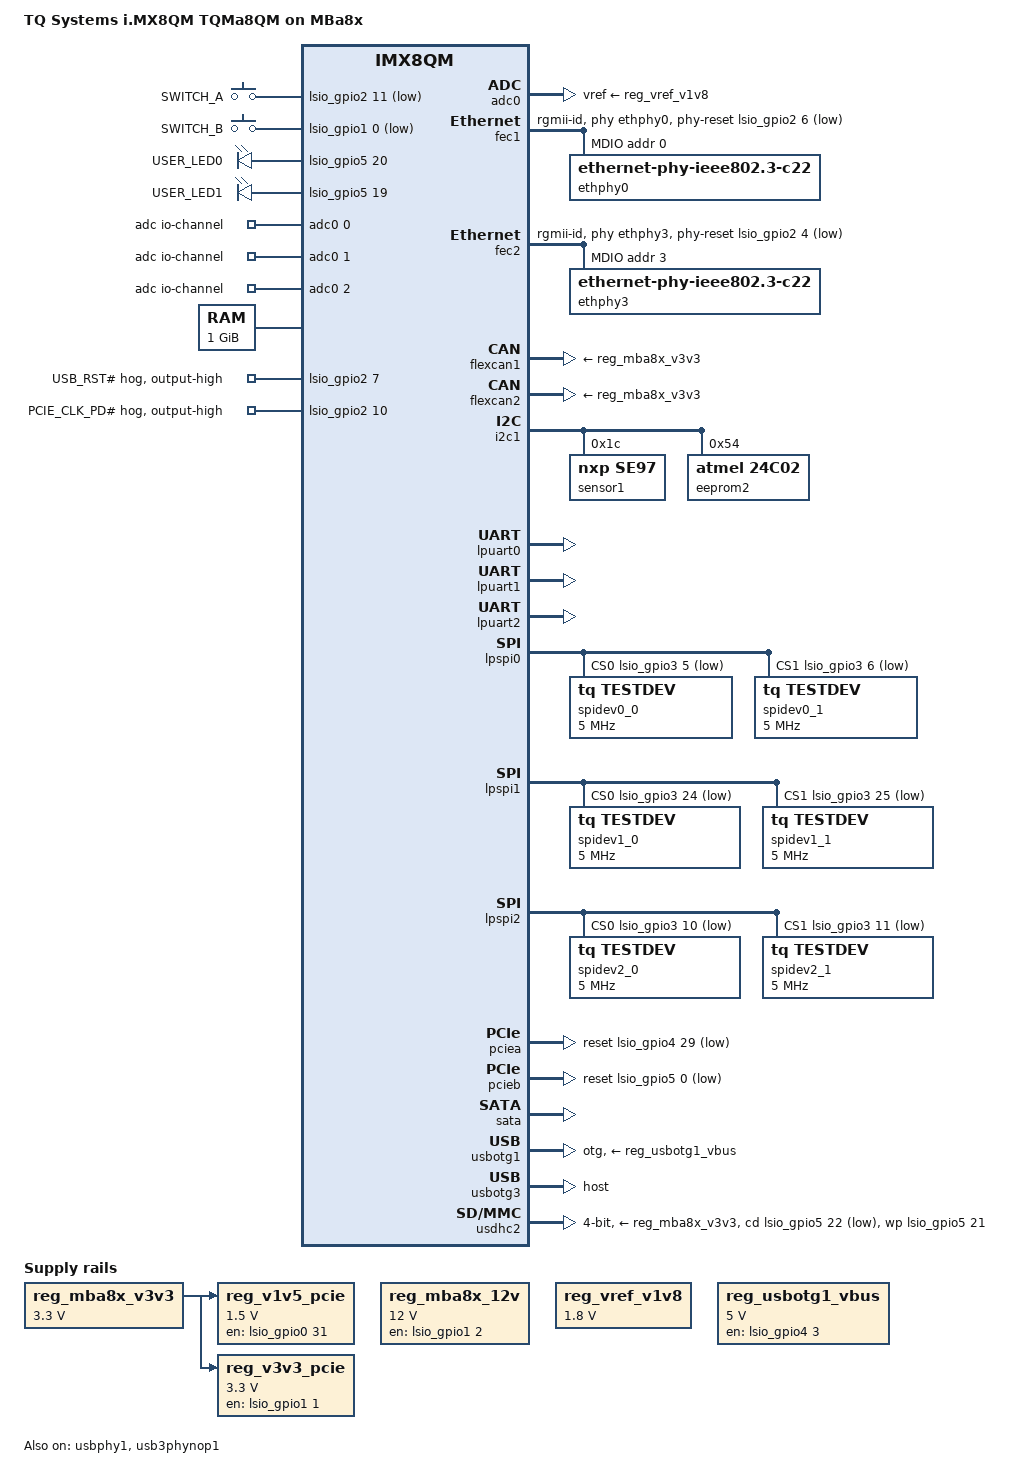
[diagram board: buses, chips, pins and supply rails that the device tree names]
// SPDX-License-Identifier: (GPL-2.0-or-later OR MIT)
/*
 * Copyright 2019-2021 TQ-Systems GmbH
 */

#include <dt-bindings/net/ti-dp83867.h>

/ {
	model = "TQ Systems i.MX8QM TQMa8QM on MBa8x";
	compatible = "tq,imx8qm-mba8x", "tq,imx8qm-tqma8qm", "fsl,imx8qm";

	aliases {
		rtc1 = &rtc;
		rtc0 = &pcf85063;
	};

	chosen {
		bootargs = "console=ttyLP0,115200 earlycon";
		stdout-path = &lpuart0;
	};

	gpio-keys {
		compatible = "gpio-keys";
		pinctrl-names = "default";
		pinctrl-0 = <&pinctrl_gpiokeys>;
		autorepeat;

		switch1 {
			label = "SWITCH_A";
			linux,code = <BTN_0>;
			gpios = <&lsio_gpio2 11 GPIO_ACTIVE_LOW>;
			wakeup-source;
		};

		switch2 {
			label = "SWITCH_B";
			linux,code = <BTN_1>;
			gpios = <&lsio_gpio1 0 GPIO_ACTIVE_LOW>;
			wakeup-source;
		};
	};

	gpio-leds {
		compatible = "gpio-leds";
		pinctrl-names = "default";
		pinctrl-0 = <&pinctrl_gpioled>;

		user-led0 {
			label = "USER_LED0";
			gpios = <&lsio_gpio5 20 GPIO_ACTIVE_HIGH>;
			linux,default-trigger = "heartbeat";
		};

		user-led1 {
			label = "USER_LED1";
			gpios = <&lsio_gpio5 19 GPIO_ACTIVE_HIGH>;
			default-state = "on";
		};
	};

	adc {
		compatible = "iio-hwmon";
		io-channels = <&adc0 0>, <&adc0 1>, <&adc0 2>;
	};

	memory@80000000 {
		device_type = "memory";
		reg = <0x00000000 0x80000000 0 0x40000000>;
	};

	reg_mba8x_v3v3: mba8x_v3v3 {
		compatible = "regulator-fixed";
		regulator-name = "MBa8x-V3V3";
		regulator-min-microvolt = <3300000>;
		regulator-max-microvolt = <3300000>;
		regulator-always-on;
	};

	reg_mba8x_12v: mba8x_12v {
		pinctrl-names = "default";
		pinctrl-0 = <&pinctrl_reg_mba8x_12v>;
		compatible = "regulator-fixed";
		regulator-name = "MBa8x-V12";
		regulator-min-microvolt = <12000000>;
		regulator-max-microvolt = <12000000>;
		enable-active-high;
		gpio = <&lsio_gpio1 2 GPIO_ACTIVE_HIGH>;
	};

	reg_v1v5_pcie: v1v5_pcie {
		pinctrl-names = "default";
		pinctrl-0 = <&pinctrl_reg_pcie_v1v5>;
		compatible = "regulator-fixed";
		regulator-name = "V1V5_PCIE";
		regulator-min-microvolt = <1500000>;
		regulator-max-microvolt = <1500000>;
		vin-supply = <&reg_mba8x_v3v3>;
		enable-active-high;
		gpio = <&lsio_gpio0 31 GPIO_ACTIVE_HIGH>;
		regulator-always-on;
	};

	reg_vref_v1v8: regulator-v1v8 {
		compatible = "regulator-fixed";
		regulator-name = "VREF_V1V8";
		regulator-min-microvolt = <1800000>;
		regulator-max-microvolt = <1800000>;
		regulator-always-on;
	};

	reg_v3v3_pcie: v3v3_pcie {
		pinctrl-names = "default";
		pinctrl-0 = <&pinctrl_reg_pcie_v3v3>;
		compatible = "regulator-fixed";
		regulator-name = "V3V3_PCIE";
		regulator-min-microvolt = <3300000>;
		regulator-max-microvolt = <3300000>;
		vin-supply = <&reg_mba8x_v3v3>;
		enable-active-high;
		gpio = <&lsio_gpio1 1 GPIO_ACTIVE_HIGH>;
		regulator-always-on;
	};

	reg_usbotg1_vbus: regulator-usbotg1-vbus {
		compatible = "regulator-fixed";
		regulator-name = "USBOTG1_VBUS";
		pinctrl-names = "default";
		pinctrl-0 = <&pinctrl_reg_usbotg1_vbus>;
		regulator-min-microvolt = <5000000>;
		regulator-max-microvolt = <5000000>;
		gpio = <&lsio_gpio4 3 GPIO_ACTIVE_HIGH>;
		enable-active-high;
	};

	reserved-memory {
		#address-cells = <2>;
		#size-cells = <2>;
		ranges;

		dsp_reserved: dsp@0x92400000 {
			no-map;
			reg = <0 0x92400000 0 0x2000000>;
		};

		/* global autoconfigured region for contiguous allocations */
		linux,cma {
			compatible = "shared-dma-pool";
			reusable;
			size = <0 0x3c000000>;
			alloc-ranges = <0 0x96000000 0 0x3c000000>;
			linux,cma-default;
		};
	};
};

&adc0 {
	pinctrl-names = "default";
	pinctrl-0 = <&pinctrl_adc0>;
	vref-supply = <&reg_vref_v1v8>;
	status = "okay";
	#io-channel-cells = <1>;
};

&fec1 {
	pinctrl-names = "default";
	pinctrl-0 = <&pinctrl_fec1>;
	phy-mode = "rgmii-id";
	phy-handle = <&ethphy0>;
	phy-reset-gpios = <&lsio_gpio2 6 GPIO_ACTIVE_LOW>;
	phy-reset-duration = <500>;
	phy-reset-post-delay = <50>;
	fsl,magic-packet;
	/* NXP starterkits share the mdio bus, we not */
	fsl,mii-exclusive;
	mac-address = [ 00 00 00 00 00 00 ];
	status = "okay";

	mdio {
		#address-cells = <1>;
		#size-cells = <0>;

		ethphy0: ethernet-phy@0 {
			compatible = "ethernet-phy-ieee802.3-c22";
			reg = <0>;
			ti,rx-internal-delay = <DP83867_RGMIIDCTL_2_25_NS>;
			ti,tx-internal-delay = <DP83867_RGMIIDCTL_2_25_NS>;
			ti,fifo-depth = <DP83867_PHYCR_FIFO_DEPTH_4_B_NIB>;
			ti,dp83867-rxctrl-strap-quirk;
			ti,clk-output-sel = <DP83867_CLK_O_SEL_OFF>;
			enet-phy-lane-no-swap;
			/* LED0: Link, LED2: activity */
			ti,led-function = <0x0100>;
			/* LED0/2: active High, driven by phy function */
			ti,led-ctrl = <0x1414>;
		};
	};
};

&fec2 {
	pinctrl-names = "default";
	pinctrl-0 = <&pinctrl_fec2>;
	phy-mode = "rgmii-id";
	phy-handle = <&ethphy3>;
	phy-reset-gpios = <&lsio_gpio2 4 GPIO_ACTIVE_LOW>;
	phy-reset-duration = <500>;
	phy-reset-post-delay = <50>;
	/* NXP starterkits share the mdio bus, we not */
	fsl,mii-exclusive;
	fsl,magic-packet;
	mac-address = [ 00 00 00 00 00 00 ];
	status = "okay";

	mdio {
		#address-cells = <1>;
		#size-cells = <0>;

		ethphy3: ethernet-phy@3 {
			compatible = "ethernet-phy-ieee802.3-c22";
			reg = <3>;
			ti,rx-internal-delay = <DP83867_RGMIIDCTL_2_25_NS>;
			ti,tx-internal-delay = <DP83867_RGMIIDCTL_2_25_NS>;
			ti,fifo-depth = <DP83867_PHYCR_FIFO_DEPTH_4_B_NIB>;
			ti,dp83867-rxctrl-strap-quirk;
			ti,clk-output-sel = <DP83867_CLK_O_SEL_OFF>;
			enet-phy-lane-no-swap;
			/* LED0: Link, LED2: activity */
			ti,led-function = <0x0100>;
			/* LED0/2: active High, driven by phy function */
			ti,led-ctrl = <0x1414>;
		};
	};
};

&flexcan1 {
	pinctrl-names = "default";
	pinctrl-0 = <&pinctrl_flexcan1>;
	xceiver-supply = <&reg_mba8x_v3v3>;
	status = "okay";
};

&flexcan2 {
	pinctrl-names = "default";
	pinctrl-0 = <&pinctrl_flexcan2>;
	xceiver-supply = <&reg_mba8x_v3v3>;
	status = "okay";
};

&iomuxc {
	pinctrl-names = "default";
	pinctrl-0 = <&pinctrl_gpio &pinctrl_hog>;

	pinctrl_adc0: adc0grp {
		fsl,pins = <
			IMX8QM_ADC_IN1_DMA_ADC0_IN1        0x02000060
			IMX8QM_ADC_IN2_DMA_ADC0_IN2        0x02000060
		>;
	};

	pinctrl_fec1: fec1grp {
		fsl,pins = <
			IMX8QM_COMP_CTL_GPIO_1V8_3V3_ENET_ENETB_PAD		0x000014a0

			IMX8QM_ENET0_MDC_CONN_ENET0_MDC				0x06000041
			IMX8QM_ENET0_MDIO_CONN_ENET0_MDIO			0x06000041
			IMX8QM_ENET0_RGMII_TX_CTL_CONN_ENET0_RGMII_TX_CTL	0x00000040
			IMX8QM_ENET0_RGMII_TXC_CONN_ENET0_RGMII_TXC		0x00000040
			IMX8QM_ENET0_RGMII_TXD0_CONN_ENET0_RGMII_TXD0		0x00000040
			IMX8QM_ENET0_RGMII_TXD1_CONN_ENET0_RGMII_TXD1		0x00000040
			IMX8QM_ENET0_RGMII_TXD2_CONN_ENET0_RGMII_TXD2		0x00000040
			IMX8QM_ENET0_RGMII_TXD3_CONN_ENET0_RGMII_TXD3		0x00000040
			IMX8QM_ENET0_RGMII_RXC_CONN_ENET0_RGMII_RXC		0x00000040
			IMX8QM_ENET0_RGMII_RX_CTL_CONN_ENET0_RGMII_RX_CTL	0x00000040
			IMX8QM_ENET0_RGMII_RXD0_CONN_ENET0_RGMII_RXD0		0x00000040
			IMX8QM_ENET0_RGMII_RXD1_CONN_ENET0_RGMII_RXD1		0x00000040
			IMX8QM_ENET0_RGMII_RXD2_CONN_ENET0_RGMII_RXD2		0x00000040
			IMX8QM_ENET0_RGMII_RXD3_CONN_ENET0_RGMII_RXD3		0x00000040
			/* PHY Reset */
			IMX8QM_ESAI1_SCKR_LSIO_GPIO2_IO06			0x00000040
		>;
	};

	pinctrl_fec2: fec2grp {
		fsl,pins = <
			IMX8QM_COMP_CTL_GPIO_1V8_3V3_ENET_ENETA_PAD		0x000014a0

			IMX8QM_ENET1_MDC_CONN_ENET1_MDC				0x06000041
			IMX8QM_ENET1_MDIO_CONN_ENET1_MDIO			0x06000041
			IMX8QM_ENET1_RGMII_TX_CTL_CONN_ENET1_RGMII_TX_CTL	0x00000040
			IMX8QM_ENET1_RGMII_TXC_CONN_ENET1_RGMII_TXC		0x00000040
			IMX8QM_ENET1_RGMII_TXD0_CONN_ENET1_RGMII_TXD0		0x00000040
			IMX8QM_ENET1_RGMII_TXD1_CONN_ENET1_RGMII_TXD1		0x00000040
			IMX8QM_ENET1_RGMII_TXD2_CONN_ENET1_RGMII_TXD2		0x00000040
			IMX8QM_ENET1_RGMII_TXD3_CONN_ENET1_RGMII_TXD3		0x00000040
			IMX8QM_ENET1_RGMII_RXC_CONN_ENET1_RGMII_RXC		0x00000040
			IMX8QM_ENET1_RGMII_RX_CTL_CONN_ENET1_RGMII_RX_CTL	0x00000040
			IMX8QM_ENET1_RGMII_RXD0_CONN_ENET1_RGMII_RXD0		0x00000040
			IMX8QM_ENET1_RGMII_RXD1_CONN_ENET1_RGMII_RXD1		0x00000040
			IMX8QM_ENET1_RGMII_RXD2_CONN_ENET1_RGMII_RXD2		0x00000040
			IMX8QM_ENET1_RGMII_RXD3_CONN_ENET1_RGMII_RXD3		0x00000040
			/* PHY Reset */
			IMX8QM_ESAI1_FSR_LSIO_GPIO2_IO04			0x00000040
		>;
	};

	pinctrl_flexcan1: flexcan0grp {
		fsl,pins = <
			IMX8QM_FLEXCAN0_TX_DMA_FLEXCAN0_TX        0x21
			IMX8QM_FLEXCAN0_RX_DMA_FLEXCAN0_RX        0x21
		>;
	};

	pinctrl_flexcan2: flexcan1grp {
		fsl,pins = <
			IMX8QM_FLEXCAN1_TX_DMA_FLEXCAN1_TX        0x21
			IMX8QM_FLEXCAN1_RX_DMA_FLEXCAN1_RX        0x21
		>;
	};

	pinctrl_gpio: pingpiogrp {
		fsl,pins = <
			/* GPIO0_05 on X62:26 */
			IMX8QM_SIM0_GPIO0_00_LSIO_GPIO0_IO05	0x00000021
			/* GPIO1_14 on X64:21 */
			IMX8QM_LVDS1_I2C1_SCL_LSIO_GPIO1_IO14	0x00000021
			/* GPIO1_15 on X64:23 */
			IMX8QM_LVDS1_I2C1_SDA_LSIO_GPIO1_IO15	0x00000021
			/* GPIO2_17 on X63:37 */
			IMX8QM_SPI3_SCK_LSIO_GPIO2_IO17		0x00000021
			/* GPIO2_21 on X63:39 */
			IMX8QM_SPI3_CS1_LSIO_GPIO2_IO21		0x00000021
			/* GPIO4_12 on X61:24 */
			IMX8QM_USDHC2_CD_B_LSIO_GPIO4_IO12	0x00000021
			/* GPIO4_11 on X61:26 */
			IMX8QM_USDHC2_WP_LSIO_GPIO4_IO11	0x00000021
			/* GPIO4_10 on X61:28 */
			IMX8QM_USDHC2_VSELECT_LSIO_GPIO4_IO10	0x00000021
			/* GPIO4_09 on X61:30 */
			IMX8QM_USDHC2_RESET_B_LSIO_GPIO4_IO09	0x00000021
			/* GPIO5_23 on X62:24 */
			IMX8QM_USDHC1_STROBE_LSIO_GPIO5_IO23	0x00000021
			/* GPIO5_24 on X61:15 */
			IMX8QM_USDHC2_CLK_LSIO_GPIO5_IO24	0x00000021
			/* GPIO5_25 on X61:17 */
			IMX8QM_USDHC2_CMD_LSIO_GPIO5_IO25	0x00000021
			/* GPIO5_26 on X61:19 */
			IMX8QM_USDHC2_DATA0_LSIO_GPIO5_IO26	0x00000021
			/* GPIO5_27 on X61:21 */
			IMX8QM_USDHC2_DATA1_LSIO_GPIO5_IO27	0x00000021
			/* GPIO5_28 on X61:23 */
			IMX8QM_USDHC2_DATA2_LSIO_GPIO5_IO28	0x00000021
			/* GPIO5_29 on X61:25 */
			IMX8QM_USDHC2_DATA3_LSIO_GPIO5_IO29	0x00000021
		>;
	};

	pinctrl_gpiokeys: gpiokeys {
		fsl,pins = <
			IMX8QM_ESAI1_TX3_RX2_LSIO_GPIO2_IO11		0x00000021
			IMX8QM_SCU_GPIO0_04_LSIO_GPIO1_IO00		0x00000021
		>;
	};

	pinctrl_gpioled: gpioledgrp {
		fsl,pins = <
			IMX8QM_USDHC1_DATA4_LSIO_GPIO5_IO19		0x00000021
			IMX8QM_USDHC1_DATA5_LSIO_GPIO5_IO20		0x00000021
		>;
	};

	pinctrl_hog: hoggrp {
		fsl,pins = <
			IMX8QM_ESAI1_SCKT_LSIO_GPIO2_IO07		0x00000021
			IMX8QM_ESAI1_TX2_RX3_LSIO_GPIO2_IO10		0x00000021
		>;
	};

	pinctrl_lpspi0: lpspi0grp {
		fsl,pins = <
			IMX8QM_SPI0_SCK_DMA_SPI0_SCK	0x0600004d
			IMX8QM_SPI0_SDO_DMA_SPI0_SDO	0x0600004d
			IMX8QM_SPI0_SDI_DMA_SPI0_SDI	0x0600004d
		>;
	};

	pinctrl_lpspi0_cs: lpspi0cs {
		fsl,pins = <
			IMX8QM_SPI0_CS0_LSIO_GPIO3_IO05	0x00000021
			IMX8QM_SPI0_CS1_LSIO_GPIO3_IO06	0x00000021
		>;
	};

	pinctrl_lpspi1: lpspi1grp {
		fsl,pins = <
			IMX8QM_ADC_IN3_DMA_SPI1_SCK	0x0600004d
			IMX8QM_ADC_IN4_DMA_SPI1_SDO	0x0600004d
			IMX8QM_ADC_IN5_DMA_SPI1_SDI	0x0600004d
		>;
	};

	pinctrl_lpspi1_cs: lpspi1cs {
		fsl,pins = <
			IMX8QM_ADC_IN6_LSIO_GPIO3_IO24	0x00000021
			IMX8QM_ADC_IN7_LSIO_GPIO3_IO25	0x00000021
		>;
	};

	pinctrl_lpspi2: lpspi2grp {
		fsl,pins = <
			IMX8QM_SPI2_SCK_DMA_SPI2_SCK	0x0600004d
			IMX8QM_SPI2_SDO_DMA_SPI2_SDO	0x0600004d
			IMX8QM_SPI2_SDI_DMA_SPI2_SDI	0x0600004d
		>;
	};

	pinctrl_lpspi2_cs: lpspi02s {
		fsl,pins = <
			IMX8QM_SPI2_CS0_LSIO_GPIO3_IO10	0x00000021
			IMX8QM_SPI2_CS1_LSIO_GPIO3_IO11	0x00000021
		>;
	};

	pinctrl_lpuart0: lpuart0grp {
		fsl,pins = <
			IMX8QM_UART0_RX_DMA_UART0_RX		0x06000021
			IMX8QM_UART0_TX_DMA_UART0_TX		0x06000021
			IMX8QM_UART0_CTS_B_DMA_UART0_CTS_B	0x00000021
			IMX8QM_UART0_RTS_B_DMA_UART0_RTS_B	0x00000021
		>;
	};

	pinctrl_lpuart1: lpuart1grp {
		fsl,pins = <
			IMX8QM_UART1_RX_DMA_UART1_RX		0x06000021
			IMX8QM_UART1_TX_DMA_UART1_TX		0x06000021
			IMX8QM_UART1_CTS_B_DMA_UART1_CTS_B	0x00000021
			IMX8QM_UART1_RTS_B_DMA_UART1_RTS_B	0x00000021
		>;
	};

	pinctrl_lpuart2: lpuart2grp {
		fsl,pins = <
			IMX8QM_LVDS0_I2C1_SDA_DMA_UART2_RX	0x06000021
			IMX8QM_LVDS0_I2C1_SCL_DMA_UART2_TX	0x06000021
		>;
	};

	pinctrl_pciea: pcieagrp {
		fsl,pins = <
			 /* PCIE_DISABLE */
			IMX8QM_ESAI1_FST_LSIO_GPIO2_IO05			0x00000021
			IMX8QM_PCIE_CTRL0_PERST_B_LSIO_GPIO4_IO29		0x06000021
			IMX8QM_PCIE_CTRL0_CLKREQ_B_LSIO_GPIO4_IO27		0x06000021
			IMX8QM_PCIE_CTRL0_WAKE_B_LSIO_GPIO4_IO28		0x04000021
		>;
	};

	pinctrl_pcieb: pciebgrp {
		fsl,pins = <
			IMX8QM_PCIE_CTRL1_PERST_B_LSIO_GPIO5_IO00		0x06000021
			IMX8QM_PCIE_CTRL1_CLKREQ_B_LSIO_GPIO4_IO30		0x06000021
			IMX8QM_PCIE_CTRL1_WAKE_B_LSIO_GPIO4_IO31		0x04000021
		>;
	};

	pinctrl_reg_mba8x_12v: mba12vgrp {
		fsl,pins = <
			IMX8QM_SCU_GPIO0_06_LSIO_GPIO1_IO02	0x00000021
		>;
	};

	pinctrl_reg_pcie_v1v5: regpcie1v5grp {
		fsl,pins = <
			IMX8QM_SCU_GPIO0_03_LSIO_GPIO0_IO31	0x00000021
		>;
	};

	pinctrl_reg_pcie_v3v3: regpcie3v3grp {
		fsl,pins = <
			IMX8QM_SCU_GPIO0_05_LSIO_GPIO1_IO01	0x00000021
		>;
	};

	pinctrl_reg_usbotg1_vbus: regusbotg1vbusgrp {
		fsl,pins = <
			IMX8QM_USB_SS3_TC0_LSIO_GPIO4_IO03	0x00000021
		>;
	};

	pinctrl_usbotg1: usbotg1grp {
		fsl,pins = <
			IMX8QM_USB_SS3_TC2_CONN_USB_OTG1_OC	0x00000021
		>;
	};

	pinctrl_usdhc2_gpio: usdhc2grpgpio {
		fsl,pins = <
			IMX8QM_USDHC1_DATA6_LSIO_GPIO5_IO21	0x00000021
			IMX8QM_USDHC1_DATA7_LSIO_GPIO5_IO22	0x00000021
			IMX8QM_USDHC1_RESET_B_LSIO_GPIO4_IO07	0x00000021
		>;
	};

	pinctrl_usdhc2: usdhc2grp {
		fsl,pins = <
			IMX8QM_USDHC1_CLK_CONN_USDHC1_CLK		0x06000041
			IMX8QM_USDHC1_CMD_CONN_USDHC1_CMD		0x00000021
			IMX8QM_USDHC1_DATA0_CONN_USDHC1_DATA0		0x00000021
			IMX8QM_USDHC1_DATA1_CONN_USDHC1_DATA1		0x00000021
			IMX8QM_USDHC1_DATA2_CONN_USDHC1_DATA2		0x00000021
			IMX8QM_USDHC1_DATA3_CONN_USDHC1_DATA3		0x00000021
			IMX8QM_USDHC1_VSELECT_CONN_USDHC1_VSELECT	0x00000021
		>;
	};

	pinctrl_usdhc2_100mhz: usdhc2grp100mhz {
		fsl,pins = <
			IMX8QM_USDHC1_CLK_CONN_USDHC1_CLK		0x06000040
			IMX8QM_USDHC1_CMD_CONN_USDHC1_CMD		0x00000021
			IMX8QM_USDHC1_DATA0_CONN_USDHC1_DATA0		0x00000021
			IMX8QM_USDHC1_DATA1_CONN_USDHC1_DATA1		0x00000021
			IMX8QM_USDHC1_DATA2_CONN_USDHC1_DATA2		0x00000021
			IMX8QM_USDHC1_DATA3_CONN_USDHC1_DATA3		0x00000021
			IMX8QM_USDHC1_VSELECT_CONN_USDHC1_VSELECT	0x00000020
		>;
	};

	pinctrl_usdhc2_200mhz: usdhc2grp200mhz {
		fsl,pins = <
			IMX8QM_USDHC1_CLK_CONN_USDHC1_CLK		0x06000040
			IMX8QM_USDHC1_CMD_CONN_USDHC1_CMD		0x00000021
			IMX8QM_USDHC1_DATA0_CONN_USDHC1_DATA0		0x00000021
			IMX8QM_USDHC1_DATA1_CONN_USDHC1_DATA1		0x00000021
			IMX8QM_USDHC1_DATA2_CONN_USDHC1_DATA2		0x00000021
			IMX8QM_USDHC1_DATA3_CONN_USDHC1_DATA3		0x00000021
			IMX8QM_USDHC1_VSELECT_CONN_USDHC1_VSELECT	0x00000020
		>;
	};
};

&lsio_gpio1 {
	/* enable wakeup for gpio-key for gpio1 line 0 (SWITCH_B)*/
	pad-wakeup-num = <1>;
	pad-wakeup = <IMX8QM_SCU_GPIO0_04 4 0>;
};

&lsio_gpio2 {
	/* enable wakeup for gpio-key for gpio2 line 11 (SWITCH_A)*/
	pad-wakeup-num = <1>;
	pad-wakeup = <IMX8QM_ESAI1_TX3_RX2 4 11>;

	usb-rst {
		gpio-hog;
		gpios = <7 0>;
		output-high;
		line-name = "USB_RST#";
	};

	/*
	 * force PD# input of PCIe clock generator high
	 * TODO: should better be used as gpio driven clock gate
	 * has to check against SCU firmware if possible.
	 */
	pcie-clk-pd {
		gpio-hog;
		gpios = <10 0>;
		output-high;
		line-name = "PCIE_CLK_PD#";
	};
};

&i2c1 {
	sensor1: jc42@1c {
		compatible = "nxp,se97", "jedec,jc-42.4-temp";
		reg = <0x1c>;
	};

	eeprom2: 24c02@54 {
		compatible = "atmel,24c02";
		reg = <0x54>;
		pagesize = <16>;
	};
};

&lpuart0 {
	pinctrl-names = "default";
	pinctrl-0 = <&pinctrl_lpuart0>;
	status = "okay";
};

&lpuart1 { /* X62 pin header */
	pinctrl-names = "default";
	pinctrl-0 = <&pinctrl_lpuart1>;
	status = "okay";
};

&lpuart2 { /* mikroBUS */
	pinctrl-names = "default";
	pinctrl-0 = <&pinctrl_lpuart2>;
	status = "okay";
};

&lpspi0 {
	#address-cells = <1>;
	#size-cells = <0>;
	pinctrl-names = "default";
	pinctrl-0 = <&pinctrl_lpspi0 &pinctrl_lpspi0_cs>;
	fsl,spi-num-chipselects = <2>;
	cs-gpios = <&lsio_gpio3 5 GPIO_ACTIVE_LOW>, <&lsio_gpio3 6 GPIO_ACTIVE_LOW>;
	status = "okay";

	spidev0_0: spidev0@0 {
		reg = <0>;
		compatible = "tq,testdev";
		spi-max-frequency = <5000000>;
		status = "okay";
	};

	spidev0_1: spidev0@1 {
		reg = <1>;
		compatible = "tq,testdev";
		spi-max-frequency = <5000000>;
		status = "okay";
	};
};

&lpspi1 {
	#address-cells = <1>;
	#size-cells = <0>;
	pinctrl-names = "default";
	pinctrl-0 = <&pinctrl_lpspi1 &pinctrl_lpspi1_cs>;
	fsl,spi-num-chipselects = <2>;
	cs-gpios = <&lsio_gpio3 24 GPIO_ACTIVE_LOW>, <&lsio_gpio3 25 GPIO_ACTIVE_LOW>;
	status = "okay";

	spidev1_0: spidev1@0 {
		reg = <0>;
		compatible = "tq,testdev";
		spi-max-frequency = <5000000>;
		status = "okay";
	};

	spidev1_1: spidev1@1 {
		reg = <1>;
		compatible = "tq,testdev";
		spi-max-frequency = <5000000>;
		status = "okay";
	};
};

&lpspi2 {
	#address-cells = <1>;
	#size-cells = <0>;
	pinctrl-names = "default";
	pinctrl-0 = <&pinctrl_lpspi2 &pinctrl_lpspi2_cs>;
	fsl,spi-num-chipselects = <2>;
	cs-gpios = <&lsio_gpio3 10 GPIO_ACTIVE_LOW>, <&lsio_gpio3 11 GPIO_ACTIVE_LOW>;
	status = "okay";

	spidev2_0: spidev2@0 {
		reg = <0>;
		compatible = "tq,testdev";
		spi-max-frequency = <5000000>;
		status = "okay";
	};

	spidev2_1: spidev2@1 {
		reg = <1>;
		compatible = "tq,testdev";
		spi-max-frequency = <5000000>;
		status = "okay";
	};
};

&pciea {
	ext_osc = <1>;
	pinctrl-names = "default";
	pinctrl-0 = <&pinctrl_pciea>;
	disable-gpio = <&lsio_gpio2 5 GPIO_ACTIVE_LOW>;
	reset-gpio = <&lsio_gpio4 29 GPIO_ACTIVE_LOW>;
/* TODO: optional, currently without functionality */
/*	clkreq-gpio = <&gpio4 27 GPIO_ACTIVE_LOW>; */
	epdev_on-supply = <&reg_v3v3_pcie>;
	vpcie-supply = <&reg_v1v5_pcie>;
	status = "okay";
};

&pcieb {
	ext_osc = <1>;
	pinctrl-names = "default";
	pinctrl-0 = <&pinctrl_pcieb>;
	reset-gpio = <&lsio_gpio5 0 GPIO_ACTIVE_LOW>;
/* TODO: optional, currently without functionality */
/*	clkreq-gpio = <&gpio4 30 GPIO_ACTIVE_LOW>; */
	epdev_on-supply = <&reg_mba8x_v3v3>;
	status = "okay";
};

&sata {
	ext_osc = <1>;
	clkreq-gpio = <&lsio_gpio4 30 GPIO_ACTIVE_LOW>;
	status = "okay";
};

&usbphy1 {
	status = "okay";
};

&usbotg1 {
	pinctrl-names = "default";
	pinctrl-0 = <&pinctrl_usbotg1>;
	vbus-supply = <&reg_usbotg1_vbus>;
	srp-disable;
	hnp-disable;
	adp-disable;
	power-active-high;
	over-current-active-low;
	dr_mode = "otg";
	status = "okay";
};

&usb3phynop1 {
	status = "okay";
};

&usbotg3 {
	dr_mode = "host";
	status = "okay";
};

&usdhc2 {
	pinctrl-names = "default", "state_100mhz", "state_200mhz";
	pinctrl-0 = <&pinctrl_usdhc2>, <&pinctrl_usdhc2_gpio>;
	pinctrl-1 = <&pinctrl_usdhc2_100mhz>, <&pinctrl_usdhc2_gpio>;
	pinctrl-2 = <&pinctrl_usdhc2_200mhz>, <&pinctrl_usdhc2_gpio>;
	bus-width = <4>;
	cd-gpios = <&lsio_gpio5 22 GPIO_ACTIVE_LOW>;
	wp-gpios = <&lsio_gpio5 21 GPIO_ACTIVE_HIGH>;
	vmmc-supply = <&reg_mba8x_v3v3>;
	no-mmc;
	no-1-8-v;
	status = "okay";
};
